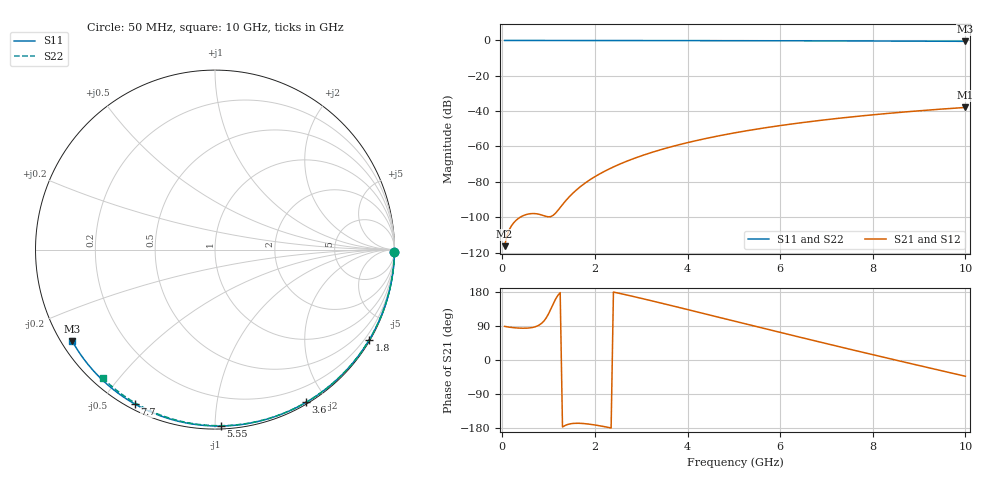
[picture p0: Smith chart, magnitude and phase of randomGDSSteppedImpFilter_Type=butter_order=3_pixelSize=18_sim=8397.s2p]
! freq	dB(S11)	phase(S11)	dB(S12)	phase(S12)
!  dB(S21)	phase(S21)	dB(S22)	phase(S22)
!S-par simulation data
#  GHz  S  DB  R 50
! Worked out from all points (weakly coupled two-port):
!   200 points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, 50 MHz to 10 GHz, reference 50 ohm
!   highest |S21| = -37.91 dB at 10 GHz (marker M1); lowest = -116.4 dB at 50 MHz (marker M2)
!   lowest |S11| = -0.5 dB at 10 GHz (marker M3), VSWR 35.14, Z = 1.54 - j14.6 ohm
!   |S11| at or under -10 dB: nowhere
!   |S22| runs from -0.4 to 0.0 dB; largest |S21 - S12| = 0
!   S11 on the Smith chart (normalised r, x): 50 MHz: open; 1.8 GHz: 0.03, -3.68; 3.6 GHz: 0.02, -1.76; 5.55 GHz: 0.02, -1.03; 7.7 GHz: 0.02, -0.61; 10 GHz: 0.03, -0.29
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0.05  -0.00 -0.9  -116.42 88.8  -116.42 88.8  -0.00 -0.8
0.45  -0.01 -7.7  -99.16 83.9  -99.16 83.9  -0.01 -6.8
0.9  -0.02 -15.3  -99.19 103.1  -99.19 103.1  -0.02 -13.6
1.3  -0.03 -22.1  -92.88 -176.9  -92.88 -176.9  -0.02 -19.5
1.75  -0.04 -29.5  -81.44 -167.6  -81.44 -167.6  -0.03 -26.2
1.8  -0.04 -30.4  -80.48 -168.2  -80.48 -168.2  -0.03 -26.9
1.85  -0.04 -31.2  -79.58 -168.9  -79.58 -168.9  -0.04 -27.6
2.05  -0.04 -34.5  -76.29 -172.5  -76.29 -172.5  -0.04 -30.6
2.2  -0.05 -36.9  -74.15 -175.8  -74.15 -175.8  -0.04 -32.7
2.55  -0.05 -42.6  -69.83 175.4  -69.83 175.4  -0.05 -37.8
2.95  -0.06 -49.0  -65.77 164.2  -65.77 164.2  -0.06 -43.5
3.4  -0.07 -56.1  -61.98 151.1  -61.98 151.1  -0.07 -49.8
3.6  -0.08 -59.2  -60.50 145.1  -60.50 145.1  -0.07 -52.6
4.3  -0.10 -69.9  -56.02 124.1  -56.02 124.1  -0.09 -62.2
5.05  -0.12 -80.9  -52.14 101.4  -52.14 101.4  -0.11 -72.1
5.55  -0.14 -88.1  -49.94 86.4  -49.94 86.4  -0.13 -78.6
6.1  -0.17 -95.8  -47.80 69.9  -47.80 69.9  -0.15 -85.5
6.7  -0.20 -104.1  -45.75 52.0  -45.75 52.0  -0.18 -92.9
7.7  -0.27 -117.5  -42.84 22.7  -42.84 22.7  -0.24 -104.9
8.35  -0.32 -126.0  -41.23 3.9  -41.23 3.9  -0.29 -112.5
9.2  -0.40 -137.0  -39.39 -20.3  -39.39 -20.3  -0.36 -122.2
10  -0.49 -147.4  -37.91 -42.9  -37.91 -42.9  -0.44 -131.2
